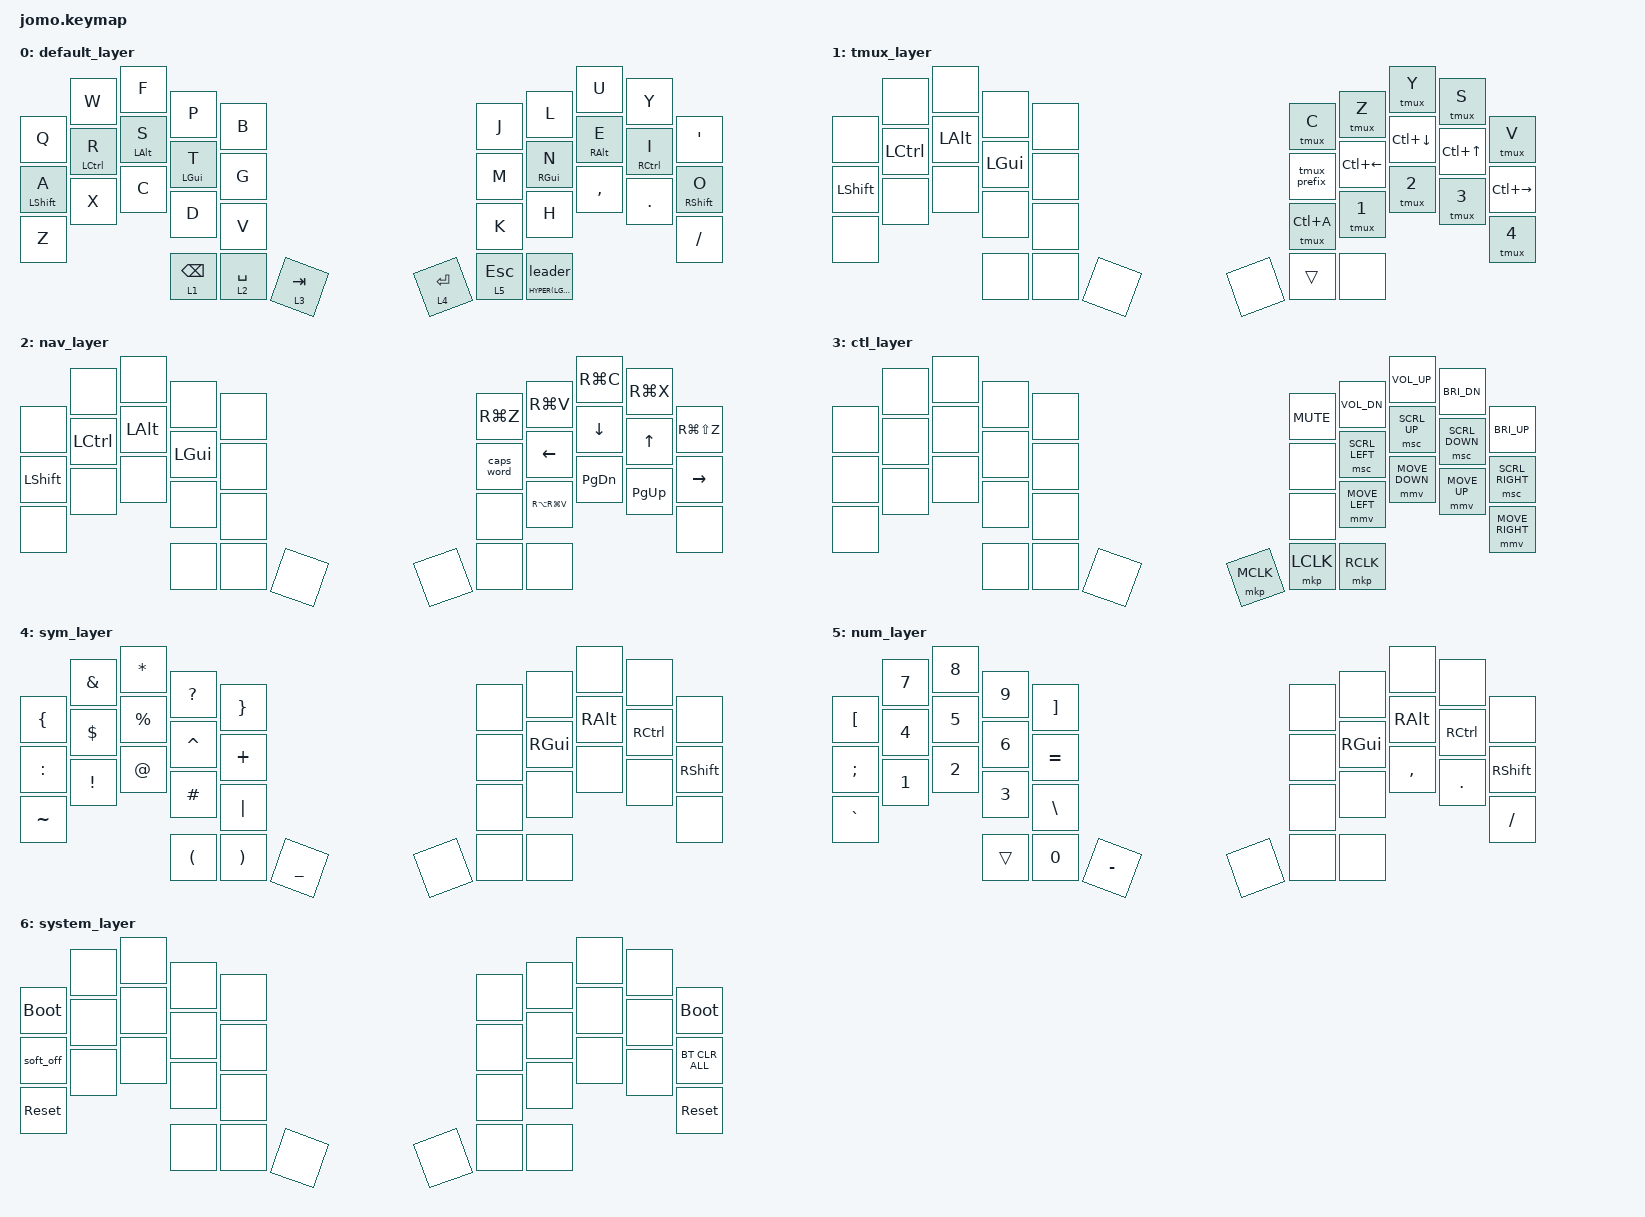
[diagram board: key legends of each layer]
#define KEYS_L 0 1 2 3 4 10 11 12 13 14 20 21 22 23 24
#define KEYS_R 5 6 7 8 9 15 16 17 18 19 25 26 27 28 29
#define THUMBS_L 30 31 32
#define THUMBS_R 33 34 35

#define ZMK_POINTING_DEFAULT_MOVE_VAL 1200
#define ZMK_POINTING_DEFAULT_SCRL_VAL 20

#define QUICK_TAP_MS 175
#define HYPER(key) LC(LS(LA(LG(key))))  // Alfred's AppSwitcher hotkeys
#define SHIFT_IDLE_MS 100  // 0 = never block shift; raise if a/o lag or stray capitals appear

#include <behaviors.dtsi>
#include <dt-bindings/zmk/keys.h>
#include <dt-bindings/zmk/pointing.h>
#include <dt-bindings/zmk/bt.h>

/ {
    behaviors {
        hml: home_row_mod_left {
            compatible = "zmk,behavior-hold-tap";
            #binding-cells = <2>;
            flavor = "balanced";
            require-prior-idle-ms = <150>;
            tapping-term-ms = <280>;
            quick-tap-ms = <QUICK_TAP_MS>;
            bindings = <&kp>, <&kp>;
            hold-trigger-key-positions = <KEYS_R THUMBS_L THUMBS_R>;
            hold-trigger-on-release;
        };
        hmr: home_row_mod_right {
            compatible = "zmk,behavior-hold-tap";
            #binding-cells = <2>;
            flavor = "balanced";
            require-prior-idle-ms = <150>;
            tapping-term-ms = <280>;
            quick-tap-ms = <QUICK_TAP_MS>;
            bindings = <&kp>, <&kp>;
            hold-trigger-key-positions = <KEYS_L THUMBS_L THUMBS_R>;
            hold-trigger-on-release;
        };
        // Own idle guard so capitals right after Space still shift. No thumb
        // triggers: a fast "to " would otherwise become Shift+Space.
        hsl: home_row_shift_left {
            compatible = "zmk,behavior-hold-tap";
            #binding-cells = <2>;
            flavor = "balanced";
            require-prior-idle-ms = <SHIFT_IDLE_MS>;
            tapping-term-ms = <280>;
            quick-tap-ms = <QUICK_TAP_MS>;
            bindings = <&kp>, <&kp>;
            hold-trigger-key-positions = <KEYS_R>;
            hold-trigger-on-release;
        };
        hsr: home_row_shift_right {
            compatible = "zmk,behavior-hold-tap";
            #binding-cells = <2>;
            flavor = "balanced";
            require-prior-idle-ms = <SHIFT_IDLE_MS>;
            tapping-term-ms = <280>;
            quick-tap-ms = <QUICK_TAP_MS>;
            bindings = <&kp>, <&kp>;
            hold-trigger-key-positions = <KEYS_L>;
            hold-trigger-on-release;
        };
        ltl: layer_tap_left {
            compatible = "zmk,behavior-hold-tap";
            #binding-cells = <2>;
            flavor = "balanced";
            tapping-term-ms = <200>;
            quick-tap-ms = <QUICK_TAP_MS>;
            bindings = <&mo>, <&kp>;
            hold-trigger-key-positions = <KEYS_R THUMBS_R>;
            hold-trigger-on-release;
        };
        ltr: layer_tap_right {
            compatible = "zmk,behavior-hold-tap";
            #binding-cells = <2>;
            flavor = "balanced";
            tapping-term-ms = <200>;
            quick-tap-ms = <QUICK_TAP_MS>;
            bindings = <&mo>, <&kp>;
            hold-trigger-key-positions = <KEYS_L THUMBS_L>;
            hold-trigger-on-release;
        };
        // Taps never type text here, so any other key may pick the hold.
        hyl: hyper_leader {
            compatible = "zmk,behavior-hold-tap";
            #binding-cells = <2>;
            flavor = "hold-preferred";
            tapping-term-ms = <200>;
            bindings = <&kp>, <&leader>;
        };
        // F16-F19 are bound by the trackit Alfred workflow.
        leader: leader {
            compatible = "zmk,behavior-leader-key";
            #binding-cells = <0>;
            clock_in {
                sequence = <C I>;
                bindings = <&kp F17>;
            };
            clock_out {
                sequence = <C O>;
                bindings = <&kp F18>;
            };
            add_todo {
                sequence = <A T>;
                bindings = <&kp F19>;
            };
            add_note {
                sequence = <A N>;
                bindings = <&kp F16>;
            };
            screenshot_copy {
                sequence = <S C>;
                bindings = <&kp LC(LS(LG(N4)))>;
            };
            screenshot_save {
                sequence = <S S>;
                bindings = <&kp LS(LG(N4))>;
            };
        };
    };
};

/ {
    macros {
        tmux: tmux {
            compatible = "zmk,behavior-macro-one-param";
            #binding-cells = <1>;
            wait-ms = <250>;
            bindings
                = <&macro_tap &kp HYPER(T)>
                , <&macro_wait_time 20>
                , <&macro_tap &kp LC(A)>
                , <&macro_param_1to1>
                , <&macro_tap &kp MACRO_PLACEHOLDER>
                ;
        };

        tmux_prefix: tmux_prefix {
            compatible = "zmk,behavior-macro";
            #binding-cells = <0>;
            wait-ms = <250>;
            bindings
                = <&macro_tap &kp HYPER(T)>
                , <&macro_wait_time 20>
                , <&macro_tap &kp LC(A)>
                ;
        };
    };
};

/ {
    combos {
        compatible = "zmk,combos";
        // The idle guard keeps rolls like "would" and "value" from firing it.
        combo_caps_word_l {
            timeout-ms = <50>;
            require-prior-idle-ms = <150>;
            key-positions = <2 3>;
            bindings = <&caps_word>;
        };
        combo_caps_word_r {
            timeout-ms = <50>;
            require-prior-idle-ms = <150>;
            key-positions = <6 7>;
            bindings = <&caps_word>;
        };
        // Both split keys together undo a split.
        combo_kill_pane {
            timeout-ms = <50>;
            key-positions = <8 9>;
            layers = <1>;
            bindings = <&tmux X>;
        };
    };
};

/ {
    conditional_layers {
        compatible = "zmk,conditional-layers";
        system {
            if-layers = <1 5>;
            then-layer = <6>;
        };
    };
};

/ {
    keymap {
        compatible = "zmk,keymap";

        default_layer { // Layer 0
            bindings = <
                &kp Q            &kp W           &kp F          &kp P           &kp B        &kp J        &kp L          &kp U           &kp Y           &kp SQT
                &hsl LSHIFT A    &hml LCTRL R    &hml LALT S    &hml LGUI T     &kp G        &kp M        &hmr RGUI N    &hmr RALT E     &hmr RCTRL I    &hsr RSHIFT O
                &kp Z            &kp X           &kp C          &kp D           &kp V        &kp K        &kp H          &kp COMMA       &kp DOT         &kp FSLH
                                                 &ltl 1 BSPC    &ltl 2 SPACE    &ltl 3 TAB   &ltr 4 RET   &ltr 5 ESC     &hyl HYPER(LGUI) 0
            >;
        };

        tmux_layer { // Layer 1
            bindings = <
                &none            &none           &none          &none           &none        &tmux C      &tmux Z        &tmux Y         &tmux S         &tmux V
                &kp LSHIFT       &kp LCTRL       &kp LALT       &kp LGUI        &none        &tmux_prefix &kp LC(LEFT)   &kp LC(DOWN)    &kp LC(UP)      &kp LC(RIGHT)
                &none            &none           &none          &none           &none        &tmux LC(A)  &tmux N1       &tmux N2        &tmux N3        &tmux N4
                                                 &none          &none           &none        &none        &trans         &none
            >;
        };

        nav_layer { // Layer 2
            bindings = <
                &none            &none           &none          &none           &none        &kp RG(Z)    &kp RG(V)      &kp RG(C)       &kp RG(X)       &kp RG(LS(Z))
                &kp LSHIFT       &kp LCTRL       &kp LALT       &kp LGUI        &none        &caps_word   &kp LEFT       &kp DOWN        &kp UP          &kp RIGHT
                &none            &none           &none          &none           &none        &none        &kp RA(RG(V))  &kp PG_DN       &kp PG_UP       &none
                                                 &none          &none           &none        &none        &none          &none
            >;
        };

        ctl_layer { // Layer 3
            bindings = <
                &none            &none           &none          &none           &none        &kp C_MUTE   &kp C_VOL_DN   &kp C_VOL_UP    &kp C_BRI_DN    &kp C_BRI_UP
                &none            &none           &none          &none           &none        &none        &msc SCRL_LEFT &msc SCRL_UP    &msc SCRL_DOWN  &msc SCRL_RIGHT
                &none            &none           &none          &none           &none        &none        &mmv MOVE_LEFT &mmv MOVE_DOWN  &mmv MOVE_UP    &mmv MOVE_RIGHT
                                                 &none          &none           &none        &mkp MCLK    &mkp LCLK      &mkp RCLK
            >;
        };

        sym_layer { // Layer 4
            bindings = <
                &kp LBRC         &kp AMPS        &kp STAR       &kp QMARK       &kp RBRC     &none        &none          &none           &none           &none
                &kp COLON        &kp DOLLAR      &kp PRCNT      &kp CARET       &kp PLUS     &none        &kp RGUI       &kp RALT        &kp RCTRL       &kp RSHIFT
                &kp TILDE        &kp EXCL        &kp AT         &kp HASH        &kp PIPE     &none        &none          &none           &none           &none
                                                 &kp LPAR       &kp RPAR        &kp UNDER    &none        &none          &none
            >;
        };

        num_layer { // Layer 5
            bindings = <
                &kp LBKT         &kp N7          &kp N8         &kp N9          &kp RBKT     &none        &none          &none           &none           &none
                &kp SEMI         &kp N4          &kp N5         &kp N6          &kp EQUAL    &none        &kp RGUI       &kp RALT        &kp RCTRL       &kp RSHIFT
                &kp GRAVE        &kp N1          &kp N2         &kp N3          &kp BSLH     &none        &none          &kp COMMA       &kp DOT         &kp FSLH
                                                 &trans         &kp N0          &kp MINUS    &none        &none          &none
            >;
        };

        system_layer { // Layer 6, Backspace + Esc held together
            bindings = <
                &bootloader      &none           &none          &none           &none        &none        &none          &none           &none           &bootloader
                &soft_off        &none           &none          &none           &none        &none        &none          &none           &none           &bt BT_CLR_ALL
                &sys_reset       &none           &none          &none           &none        &none        &none          &none           &none           &sys_reset
                                                 &none          &none           &none        &none        &none          &none
            >;
        };

    };
 };
